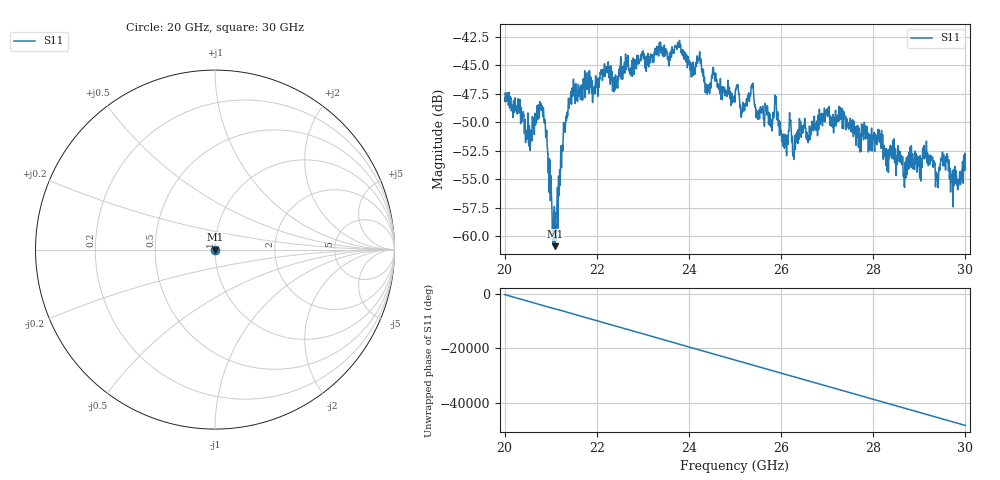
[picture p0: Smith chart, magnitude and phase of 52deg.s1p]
#  HZ  S  RI  R  50.00
! Rohde & Schwarz ZVA40 4Ports - Version 3.90 - 1145.1110k42 SN: 100403
! Date: 2023-10-03 12:01:03
! Measurement: S12
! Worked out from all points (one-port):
!   5001 points, 20 GHz to 30 GHz, reference 50 ohm
!   lowest |S11| = -60.9 dB at 21.09 GHz (marker M1), VSWR 1.00, Z = 50.1 + j0.0253 ohm
!   |S11| at or under -10 dB: start of sweep to end of sweep
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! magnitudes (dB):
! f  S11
! 20 GHz  -48.1
! 20.33 GHz  -48.1
! 20.51 GHz  -51.0
! 20.81 GHz  -48.7
! 21.09 GHz  -60.9
! 21.25 GHz  -52.4
! 21.48 GHz  -47.7
! 22.5 GHz  -45.2
! 23.75 GHz  -43.4
! 24.09 GHz  -44.8
! 24.22 GHz  -44.4
! 24.4 GHz  -47.5
! 24.54 GHz  -45.7
! 25 GHz  -48.1
! 25.17 GHz  -48.3
! 25.37 GHz  -46.7
! 25.49 GHz  -49.2
! 25.77 GHz  -50.2
! 25.88 GHz  -47.7
! 26.04 GHz  -51.7
! 26.25 GHz  -52.6
! 26.99 GHz  -49.0
! 27.5 GHz  -49.8
! 28.75 GHz  -53.0
! 29.12 GHz  -53.1
! 29.39 GHz  -54.6
! 29.86 GHz  -55.0
! 30 GHz  -54.2
